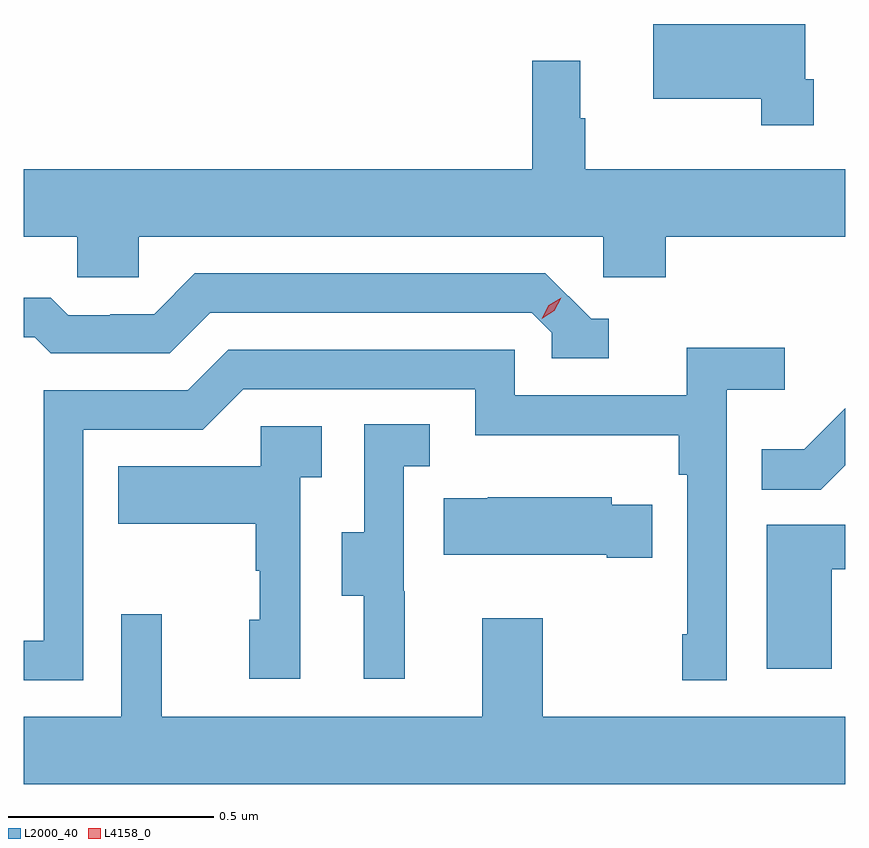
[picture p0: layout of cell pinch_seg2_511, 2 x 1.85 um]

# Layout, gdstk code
import gdstk
lib = gdstk.Library(unit=1e-6, precision=1e-09)
def P(c, l, *ps):  # polygons
    for p in ps: c.add(gdstk.Polygon(p, *l))
L2000_40 = (2000, 40)
L4158_0 = (4158, 0)

pinch_seg2_511 = lib.new_cell('pinch_seg2_511')
P(pinch_seg2_511, L2000_40, [(983.528,594.739),(983.508,594.739),(983.508,594.874),(983.138,594.874),(983.138,594.692),(983.4,594.692),(983.4,594.627),(983.528,594.627)],
  [(981.885,594.356),(983.016,594.356),(983.016,594.258),(983.168,594.258),(983.168,594.356),(983.605,594.356),(983.605,594.52),(982.972,594.52),(982.972,594.644),(982.96,594.644),(982.96,594.784),(982.843,594.784),(982.843,594.52),(981.605,594.52),(981.605,594.356),(981.735,594.356),(981.735,594.258),(981.885,594.258)],
  [(983.029,594.156),(982.986,594.156),(982.875,594.267),(982.022,594.267),(981.923,594.168),(981.816,594.168),(981.816,594.165),(981.713,594.165),(981.671,594.208),(981.605,594.208),(981.605,594.111),(981.632,594.111),(981.671,594.072),(981.96,594.072),(982.059,594.171),(982.842,594.171),(982.89,594.123),(982.89,594.06),(983.029,594.06)],
  [(981.75,593.886),(982.041,593.886),(982.14,593.985),(982.704,593.985),(982.704,593.873),(983.2,593.873),(983.2,593.777),(983.22,593.777),(983.22,593.389),(983.208,593.389),(983.208,593.277),(983.316,593.277),(983.316,593.984),(983.458,593.984),(983.458,594.086),(983.219,594.086),(983.219,593.97),(982.8,593.97),(982.8,594.081),(982.103,594.081),(982.004,593.982),(981.654,593.982),(981.654,593.373),(981.605,593.373),(981.605,593.277),(981.75,593.277)],
  [(983.605,593.8),(983.605,593.939),(983.505,593.839),(983.401,593.839),(983.401,593.74),(983.545,593.74)],
  [(982.532,593.493),(982.53,593.493),(982.53,593.797),(982.594,593.797),(982.594,593.9),(982.434,593.9),(982.434,593.637),(982.379,593.637),(982.379,593.482),(982.433,593.482),(982.433,593.28),(982.532,593.28)],
  [(982.278,593.771),(982.33,593.771),(982.33,593.895),(982.182,593.895),(982.182,593.797),(981.835,593.797),(981.835,593.657),(982.17,593.657),(982.17,593.543),(982.18,593.543),(982.18,593.424),(982.154,593.424),(982.154,593.28),(982.278,593.28)],
  [(983.135,593.704),(983.037,593.704),(983.037,593.722),(982.735,593.722),(982.735,593.719),(982.627,593.719),(982.627,593.582),(983.024,593.582),(983.024,593.575),(983.135,593.575)],
  [(983.572,593.547),(983.605,593.547),(983.605,593.655),(983.414,593.655),(983.414,593.304),(983.572,593.304)],
  [(983.605,593.188),(982.869,593.188),(982.869,593.428),(982.721,593.428),(982.721,593.188),(981.941,593.188),(981.941,593.437),(981.843,593.437),(981.843,593.188),(981.605,593.188),(981.605,593.024),(983.605,593.024)])
P(pinch_seg2_511, L4158_0, [(982.866,594.157),(982.866,594.157),(982.883,594.189),(982.914,594.208),(982.914,594.208),(982.914,594.208),(982.897,594.176),(982.866,594.157)])

lib.write_gds('pinch_seg2_511.gds')
